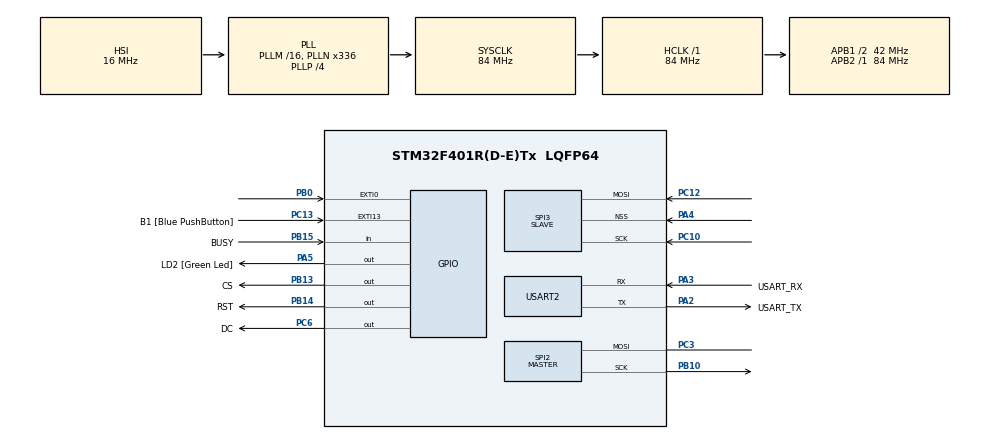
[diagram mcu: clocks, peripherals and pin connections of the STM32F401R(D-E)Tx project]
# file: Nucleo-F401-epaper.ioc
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Dma.Request0=SPI3_RX
Dma.SPI3_RX.0.Direction=DMA_PERIPH_TO_MEMORY
Dma.SPI3_RX.0.FIFOMode=DMA_FIFOMODE_DISABLE
Dma.SPI3_RX.0.Instance=DMA1_Stream0
Dma.SPI3_RX.0.MemDataAlignment=DMA_MDATAALIGN_BYTE
Dma.SPI3_RX.0.MemInc=DMA_MINC_ENABLE
Dma.SPI3_RX.0.Mode=DMA_CIRCULAR
Dma.SPI3_RX.0.PeriphDataAlignment=DMA_PDATAALIGN_BYTE
Dma.SPI3_RX.0.PeriphInc=DMA_PINC_DISABLE
Dma.SPI3_RX.0.Priority=DMA_PRIORITY_LOW
Mcu.Family=STM32F4
Mcu.Name=STM32F401R(D-E)Tx
Mcu.Package=LQFP64
NVIC.DMA1_Stream0_IRQn=true\:0\:0\:false\:false\:true\:false\:true
NVIC.EXTI0_IRQn=true\:0\:0\:false\:false\:true\:true\:true
NVIC.PriorityGroup=NVIC_PRIORITYGROUP_0
PA13.GPIO_Label=TMS
PA13.Mode=Serial_Wire
PA13.Signal=SYS_JTMS-SWDIO
PA14.GPIO_Label=TCK
PA14.Mode=Serial_Wire
PA14.Signal=SYS_JTCK-SWCLK
PA2.GPIO_Label=USART_TX
PA2.GPIO_Mode=GPIO_MODE_AF_PP
PA2.GPIO_PuPd=GPIO_NOPULL
PA2.GPIO_Speed=GPIO_SPEED_FREQ_LOW
PA2.Mode=Asynchronous
PA2.Signal=USART2_TX
PA3.GPIO_Label=USART_RX
PA3.GPIO_Mode=GPIO_MODE_AF_PP
PA3.GPIO_PuPd=GPIO_NOPULL
PA3.GPIO_Speed=GPIO_SPEED_FREQ_LOW
PA3.Mode=Asynchronous
PA3.Signal=USART2_RX
PA4.Mode=NSS_Signal_Hard_Input
PA4.Signal=SPI3_NSS
PA5.GPIO_Label=LD2 [Green Led]
PA5.GPIO_Mode=GPIO_MODE_OUTPUT_PP
PA5.GPIO_PuPd=GPIO_NOPULL
PA5.GPIO_Speed=GPIO_SPEED_FREQ_LOW
PA5.Signal=GPIO_Output
PB0.GPIO_ModeDefaultEXTI=GPIO_MODE_IT_RISING
PB0.Signal=GPXTI0
PB10.Mode=Simplex_Bidirectional_Master
PB10.Signal=SPI2_SCK
PB13.GPIO_Label=CS
PB13.Signal=GPIO_Output
PB14.GPIO_Label=RST
PB14.Signal=GPIO_Output
PB15.GPIO_Label=BUSY
PB15.Signal=GPIO_Input
PB3.GPIO_Label=SWO
PB3.Signal=SYS_JTDO-SWO
PC10.Mode=RX_Only_Simplex_Unidirect_Slave
PC10.Signal=SPI3_SCK
PC12.Mode=RX_Only_Simplex_Unidirect_Slave
PC12.Signal=SPI3_MOSI
PC13-ANTI_TAMP.GPIO_Label=B1 [Blue PushButton]
PC13-ANTI_TAMP.GPIO_ModeDefaultEXTI=GPIO_MODE_IT_FALLING
PC13-ANTI_TAMP.GPIO_PuPd=GPIO_NOPULL
PC13-ANTI_TAMP.Signal=GPXTI13
PC14-OSC32_IN.Mode=LSE-External-Oscillator
PC14-OSC32_IN.Signal=RCC_OSC32_IN
PC15-OSC32_OUT.Mode=LSE-External-Oscillator
PC15-OSC32_OUT.Signal=RCC_OSC32_OUT
PC3.Mode=Simplex_Bidirectional_Master
PC3.Signal=SPI2_MOSI
PC6.GPIO_Label=DC
PC6.Signal=GPIO_Output
PH0\ -\ OSC_IN.Mode=HSE-External-Clock-Source
PH0\ -\ OSC_IN.Signal=RCC_OSC_IN
PH1\ -\ OSC_OUT.Mode=HSE-External-Clock-Source
PH1\ -\ OSC_OUT.Signal=RCC_OSC_OUT
ProjectManager.HeapSize=0x3000
ProjectManager.StackSize=0x1000
ProjectManager.TargetToolchain=MDK-ARM V5.27
RCC.48MHZClocksFreq_Value=48000000
RCC.AHBFreq_Value=84000000
RCC.APB1CLKDivider=RCC_HCLK_DIV2
RCC.APB1Freq_Value=42000000
RCC.APB1TimFreq_Value=84000000
RCC.APB2Freq_Value=84000000
RCC.APB2TimFreq_Value=84000000
RCC.CortexFreq_Value=84000000
RCC.HCLKFreq_Value=84000000
RCC.HSE_VALUE=8000000
RCC.HSI_VALUE=16000000
RCC.PLLN=336
RCC.PLLP=RCC_PLLP_DIV4
RCC.PLLQ=7
RCC.SYSCLKFreq_VALUE=84000000
RCC.SYSCLKSource=RCC_SYSCLKSOURCE_PLLCLK
RCC.VCOOutputFreq_Value=336000000
SPI2.BaudRatePrescaler=SPI_BAUDRATEPRESCALER_16
SPI2.Direction=SPI_DIRECTION_1LINE
SPI2.Mode=SPI_MODE_MASTER
SPI2.VirtualType=VM_MASTER
SPI3.CLKPhase=SPI_PHASE_1EDGE
SPI3.CLKPolarity=SPI_POLARITY_LOW
SPI3.Direction=SPI_DIRECTION_2LINES_RXONLY
SPI3.Mode=SPI_MODE_SLAVE
SPI3.VirtualNSS=VM_NSSHARD
SPI3.VirtualType=VM_SLAVE
USART2.VirtualMode=VM_ASYNC
board=NUCLEO-F401RE

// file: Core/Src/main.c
/* USER CODE BEGIN Header */
/**
  ******************************************************************************
  * @file           : main.c
  * @brief          : Main program body
  ******************************************************************************
  * @attention
  *
  * <h2><center>&copy; Copyright (c) 2021 STMicroelectronics.
  * All rights reserved.</center></h2>
  *
  * This software component is licensed by ST under BSD 3-Clause license,
  * the "License"; You may not use this file except in compliance with the
  * License. You may obtain a copy of the License at:
  *                        opensource.org/licenses/BSD-3-Clause
  *
  ******************************************************************************
  */
/* USER CODE END Header */
#include "main.h"

/* USER CODE BEGIN Includes */

#include <stdio.h>
#include <stdlib.h>
#include <string.h>
#include "DEV_Config.h"
#include "EPD_1in54_V2.h"
#include "EPD_4in2.h"
#include "GUI_Paint.h"
/* USER CODE END Includes */

/* USER CODE BEGIN PM */

/* Select target display */
//#define WAVESHARE_154
#define WAVESHARE_42

/* USER CODE END PM */

SPI_HandleTypeDef hspi2;
SPI_HandleTypeDef hspi3;
DMA_HandleTypeDef hdma_spi3_rx;

UART_HandleTypeDef huart2;

void SystemClock_Config(void);
static void MX_GPIO_Init(void);
static void MX_DMA_Init(void);
static void MX_SPI2_Init(void);
static void MX_USART2_UART_Init(void);
static void MX_SPI3_Init(void);

/* USER CODE BEGIN 0 */
#define BUFFERLEN 32
uint8_t spibuffer[BUFFERLEN];
char displaybuffer[32];
int oldbufferpos;
int bufferpos;
int ndatareceived;
volatile int dataready;

#ifdef WAVESHARE_154
#define ROTATION 270
#define EPD_WIDTH EPD_1IN54_V2_WIDTH
#define EPD_HEIGHT EPD_1IN54_V2_HEIGHT
void EPD_Init(void) { EPD_1IN54_V2_Init(); }
void EPD_Clear(void) {	EPD_1IN54_V2_Clear(); }
void EPD_Display(UBYTE *Image) { EPD_1IN54_V2_Display(Image); }
#elif defined (WAVESHARE_42)
#define ROTATION 0
#define EPD_WIDTH EPD_4IN2_WIDTH
#define EPD_HEIGHT EPD_4IN2_HEIGHT
void EPD_Init(void) { EPD_4IN2_Init(); }
void EPD_Clear(void) {	EPD_4IN2_Clear(); }
void EPD_Display(UBYTE *Image) { EPD_4IN2_Display(Image); }
#else
#error "Display not supported"
#endif
/* USER CODE END 0 */

int main(void)
{
  /* USER CODE BEGIN 1 */
		int ret;
  /* USER CODE END 1 */

  /* MCU Configuration--------------------------------------------------------*/

  /* Reset of all peripherals, Initializes the Flash interface and the Systick. */
  HAL_Init();

  /* Configure the system clock */
  SystemClock_Config();

  /* Initialize all configured peripherals */
  MX_GPIO_Init();
  MX_DMA_Init();
  MX_SPI2_Init();
  MX_USART2_UART_Init();
  MX_SPI3_Init();
  /* USER CODE BEGIN 2 */

  DEV_Module_Init();
  EPD_Init();
  EPD_Clear();

	UBYTE *BlackImage;
  /* you have to edit the startup_stm32fxxx.s file and set a big enough heap size */
  UWORD Imagesize = ((EPD_WIDTH % 8 == 0)? (EPD_WIDTH / 8 ): (EPD_WIDTH / 8 + 1)) * EPD_HEIGHT;
  if((BlackImage = (UBYTE *)malloc(Imagesize)) == NULL) {
    printf("Failed to apply for black memory...\r\n");
		while(1);
  }

  Paint_NewImage(BlackImage, EPD_WIDTH, EPD_HEIGHT, ROTATION, WHITE);

#if 1
	Paint_SelectImage(BlackImage);
	Paint_Clear(WHITE);

	Paint_DrawString_EN(5, 105, "-- Col Taron --", &Font48, WHITE, BLACK);
	EPD_Display(BlackImage);
#endif

	/* Start piping in data from SPI slave */
	ret = HAL_SPI_Receive_DMA(&hspi3, spibuffer, BUFFERLEN);
	if(ret != HAL_OK){
		printf("Error in SPI Receive\r\n");
		while(1);
	}
  /* USER CODE END 2 */

  /* Infinite loop */
  /* USER CODE BEGIN WHILE */
  while (1){
		memset(displaybuffer, 0, sizeof(displaybuffer));
		while(dataready == 0);
		dataready = 0;
		if(ndatareceived == 15){
			printf("%i chars: %s\r\n", ndatareceived, displaybuffer);
			if(strstr(displaybuffer, "USB") || strstr(displaybuffer, "PORT") || strstr(displaybuffer, "FM") || strstr(displaybuffer, "CD ") || strstr(displaybuffer, "iPod")){
				Paint_SelectImage(BlackImage);
				Paint_Clear(WHITE);
				Paint_DrawString_EN(5, 100, displaybuffer, &Font48, WHITE, BLACK);
				EPD_Display(BlackImage);
			}
		}
    /* USER CODE END WHILE */

  }
}

void SystemClock_Config(void)
{
  RCC_OscInitTypeDef RCC_OscInitStruct = {0};
  RCC_ClkInitTypeDef RCC_ClkInitStruct = {0};

  /** Configure the main internal regulator output voltage
  */
  __HAL_RCC_PWR_CLK_ENABLE();
  __HAL_PWR_VOLTAGESCALING_CONFIG(PWR_REGULATOR_VOLTAGE_SCALE2);
  /** Initializes the RCC Oscillators according to the specified parameters
  * in the RCC_OscInitTypeDef structure.
  */
  RCC_OscInitStruct.OscillatorType = RCC_OSCILLATORTYPE_HSI;
  RCC_OscInitStruct.HSIState = RCC_HSI_ON;
  RCC_OscInitStruct.HSICalibrationValue = RCC_HSICALIBRATION_DEFAULT;
  RCC_OscInitStruct.PLL.PLLState = RCC_PLL_ON;
  RCC_OscInitStruct.PLL.PLLSource = RCC_PLLSOURCE_HSI;
  RCC_OscInitStruct.PLL.PLLM = 16;
  RCC_OscInitStruct.PLL.PLLN = 336;
  RCC_OscInitStruct.PLL.PLLP = RCC_PLLP_DIV4;
  RCC_OscInitStruct.PLL.PLLQ = 7;
  if (HAL_RCC_OscConfig(&RCC_OscInitStruct) != HAL_OK)
  {
    Error_Handler();
  }
  /** Initializes the CPU, AHB and APB buses clocks
  */
  RCC_ClkInitStruct.ClockType = RCC_CLOCKTYPE_HCLK|RCC_CLOCKTYPE_SYSCLK
                              |RCC_CLOCKTYPE_PCLK1|RCC_CLOCKTYPE_PCLK2;
  RCC_ClkInitStruct.SYSCLKSource = RCC_SYSCLKSOURCE_PLLCLK;
  RCC_ClkInitStruct.AHBCLKDivider = RCC_SYSCLK_DIV1;
  RCC_ClkInitStruct.APB1CLKDivider = RCC_HCLK_DIV2;
  RCC_ClkInitStruct.APB2CLKDivider = RCC_HCLK_DIV1;

  if (HAL_RCC_ClockConfig(&RCC_ClkInitStruct, FLASH_LATENCY_2) != HAL_OK)
  {
    Error_Handler();
  }
}

static void MX_SPI2_Init(void)
{

  /* SPI2 parameter configuration*/
  hspi2.Instance = SPI2;
  hspi2.Init.Mode = SPI_MODE_MASTER;
  hspi2.Init.Direction = SPI_DIRECTION_1LINE;
  hspi2.Init.DataSize = SPI_DATASIZE_8BIT;
  hspi2.Init.CLKPolarity = SPI_POLARITY_LOW;
  hspi2.Init.CLKPhase = SPI_PHASE_1EDGE;
  hspi2.Init.NSS = SPI_NSS_SOFT;
  hspi2.Init.BaudRatePrescaler = SPI_BAUDRATEPRESCALER_4;
  hspi2.Init.FirstBit = SPI_FIRSTBIT_MSB;
  hspi2.Init.TIMode = SPI_TIMODE_DISABLE;
  hspi2.Init.CRCCalculation = SPI_CRCCALCULATION_DISABLE;
  hspi2.Init.CRCPolynomial = 10;
  if (HAL_SPI_Init(&hspi2) != HAL_OK)
  {
    Error_Handler();
  }

}

static void MX_SPI3_Init(void)
{

  /* SPI3 parameter configuration*/
  hspi3.Instance = SPI3;
  hspi3.Init.Mode = SPI_MODE_SLAVE;
  hspi3.Init.Direction = SPI_DIRECTION_2LINES_RXONLY;
  hspi3.Init.DataSize = SPI_DATASIZE_8BIT;
  hspi3.Init.CLKPolarity = SPI_POLARITY_HIGH;
  hspi3.Init.CLKPhase = SPI_PHASE_2EDGE;
  hspi3.Init.NSS = SPI_NSS_HARD_INPUT;
  hspi3.Init.FirstBit = SPI_FIRSTBIT_MSB;
  hspi3.Init.TIMode = SPI_TIMODE_DISABLE;
  hspi3.Init.CRCCalculation = SPI_CRCCALCULATION_DISABLE;
  hspi3.Init.CRCPolynomial = 10;
  if (HAL_SPI_Init(&hspi3) != HAL_OK)
  {
    Error_Handler();
  }

}

static void MX_USART2_UART_Init(void)
{

  huart2.Instance = USART2;
  huart2.Init.BaudRate = 115200;
  huart2.Init.WordLength = UART_WORDLENGTH_8B;
  huart2.Init.StopBits = UART_STOPBITS_1;
  huart2.Init.Parity = UART_PARITY_NONE;
  huart2.Init.Mode = UART_MODE_TX_RX;
  huart2.Init.HwFlowCtl = UART_HWCONTROL_NONE;
  huart2.Init.OverSampling = UART_OVERSAMPLING_16;
  if (HAL_UART_Init(&huart2) != HAL_OK)
  {
    Error_Handler();
  }

}

static void MX_DMA_Init(void)
{

  /* DMA controller clock enable */
  __HAL_RCC_DMA1_CLK_ENABLE();

  /* DMA interrupt init */
  /* DMA1_Stream0_IRQn interrupt configuration */
  HAL_NVIC_SetPriority(DMA1_Stream0_IRQn, 0, 0);
  HAL_NVIC_EnableIRQ(DMA1_Stream0_IRQn);

}

static void MX_GPIO_Init(void)
{
  GPIO_InitTypeDef GPIO_InitStruct = {0};

  /* GPIO Ports Clock Enable */
  __HAL_RCC_GPIOC_CLK_ENABLE();
  __HAL_RCC_GPIOH_CLK_ENABLE();
  __HAL_RCC_GPIOA_CLK_ENABLE();
  __HAL_RCC_GPIOB_CLK_ENABLE();

  /*Configure GPIO pin Output Level */
  HAL_GPIO_WritePin(LD2_GPIO_Port, LD2_Pin, GPIO_PIN_RESET);

  /*Configure GPIO pin Output Level */
  HAL_GPIO_WritePin(GPIOB, CS_Pin|RST_Pin, GPIO_PIN_RESET);

  /*Configure GPIO pin Output Level */
  HAL_GPIO_WritePin(DC_GPIO_Port, DC_Pin, GPIO_PIN_RESET);

  /*Configure GPIO pin : B1_Pin */
  GPIO_InitStruct.Pin = B1_Pin;
  GPIO_InitStruct.Mode = GPIO_MODE_IT_FALLING;
  GPIO_InitStruct.Pull = GPIO_NOPULL;
  HAL_GPIO_Init(B1_GPIO_Port, &GPIO_InitStruct);

  /*Configure GPIO pin : LD2_Pin */
  GPIO_InitStruct.Pin = LD2_Pin;
  GPIO_InitStruct.Mode = GPIO_MODE_OUTPUT_PP;
  GPIO_InitStruct.Pull = GPIO_NOPULL;
  GPIO_InitStruct.Speed = GPIO_SPEED_FREQ_LOW;
  HAL_GPIO_Init(LD2_GPIO_Port, &GPIO_InitStruct);

  /*Configure GPIO pin : PB0 */
  GPIO_InitStruct.Pin = GPIO_PIN_0;
  GPIO_InitStruct.Mode = GPIO_MODE_IT_RISING;
  GPIO_InitStruct.Pull = GPIO_NOPULL;
  HAL_GPIO_Init(GPIOB, &GPIO_InitStruct);

  /*Configure GPIO pins : CS_Pin RST_Pin */
  GPIO_InitStruct.Pin = CS_Pin|RST_Pin;
  GPIO_InitStruct.Mode = GPIO_MODE_OUTPUT_PP;
  GPIO_InitStruct.Pull = GPIO_NOPULL;
  GPIO_InitStruct.Speed = GPIO_SPEED_FREQ_LOW;
  HAL_GPIO_Init(GPIOB, &GPIO_InitStruct);

  /*Configure GPIO pin : BUSY_Pin */
  GPIO_InitStruct.Pin = BUSY_Pin;
  GPIO_InitStruct.Mode = GPIO_MODE_INPUT;
  GPIO_InitStruct.Pull = GPIO_NOPULL;
  HAL_GPIO_Init(BUSY_GPIO_Port, &GPIO_InitStruct);

  /*Configure GPIO pin : DC_Pin */
  GPIO_InitStruct.Pin = DC_Pin;
  GPIO_InitStruct.Mode = GPIO_MODE_OUTPUT_PP;
  GPIO_InitStruct.Pull = GPIO_NOPULL;
  GPIO_InitStruct.Speed = GPIO_SPEED_FREQ_LOW;
  HAL_GPIO_Init(DC_GPIO_Port, &GPIO_InitStruct);

  /* EXTI interrupt init*/
  HAL_NVIC_SetPriority(EXTI0_IRQn, 0, 0);
  HAL_NVIC_EnableIRQ(EXTI0_IRQn);

}

/* USER CODE BEGIN 4 */
void HAL_GPIO_EXTI_Callback(uint16_t GPIO_Pin)
{
	HAL_GPIO_TogglePin(LD2_GPIO_Port, LD2_Pin);

	/* Sort out how much data arrived */
	bufferpos = BUFFERLEN - hspi3.hdmarx->Instance->NDTR;

	if(bufferpos >= oldbufferpos){
		ndatareceived = bufferpos - oldbufferpos;
		if(ndatareceived == 15)
			memcpy(displaybuffer, (uint8_t*)&spibuffer[oldbufferpos], ndatareceived);
	}
	else{
		ndatareceived = BUFFERLEN + bufferpos - oldbufferpos;
		if(ndatareceived == 15){
			memcpy(displaybuffer, (uint8_t*)&spibuffer[oldbufferpos], BUFFERLEN-oldbufferpos);
			memcpy(&displaybuffer[BUFFERLEN-oldbufferpos], (uint8_t*)spibuffer, bufferpos);
		}
	}

	oldbufferpos = bufferpos;

	if(ndatareceived == 15)
		dataready = 1;
}

int fputc(int ch, FILE *f)
{
  /* Place your implementation of fputc here */
  /* e.g. write a character to the EVAL_COM1 and Loop until the end of transmission */
  HAL_UART_Transmit(&huart2, (uint8_t *)&ch, 1, 0xFFFF);

  return ch;
}

/* USER CODE END 4 */

void Error_Handler(void)
{
  __disable_irq();
  while (1)
  {
  }
}

/************************ (C) COPYRIGHT STMicroelectronics *****END OF FILE****/
